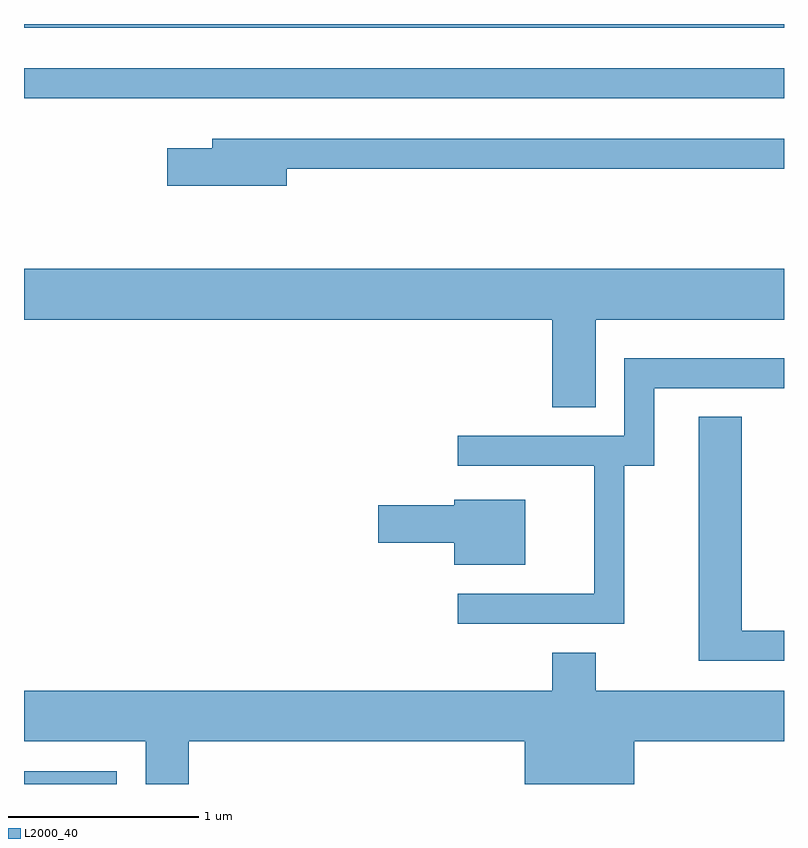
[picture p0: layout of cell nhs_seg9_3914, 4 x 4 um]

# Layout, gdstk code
import gdstk
lib = gdstk.Library(unit=1e-6, precision=1e-09)
def R(c, l, rs):  # rectangles x0, y0, x1, y1
    for r in rs: c.add(gdstk.rectangle(r[:2], r[2:], *l))
def P(c, l, *ps):  # polygons
    for p in ps: c.add(gdstk.Polygon(p, *l))
L2000_40 = (2000, 40)

nhs_seg9_3914 = lib.new_cell('nhs_seg9_3914')
R(nhs_seg9_3914, L2000_40, [(299.611,2040.432,300.099,2040.499), (299.611,2044.041,303.611,2044.199), (299.611,2044.411,303.611,2044.432)])
P(nhs_seg9_3914, L2000_40, [(300.994,2043.671),(303.611,2043.671),(303.611,2043.829),(300.601,2043.829),(300.601,2043.779),(300.366,2043.779),(300.366,2043.581),(300.994,2043.581)],
  [(302.619,2042.876),(303.611,2042.876),(303.611,2043.144),(299.611,2043.144),(299.611,2042.876),(302.391,2042.876),(302.391,2042.416),(302.619,2042.416)],
  [(302.769,2042.106),(302.929,2042.106),(302.929,2042.516),(303.611,2042.516),(303.611,2042.674),(302.771,2042.674),(302.771,2042.264),(301.893,2042.264),(301.893,2042.106),(302.611,2042.106),(302.611,2041.434),(301.893,2041.434),(301.893,2041.276),(302.769,2041.276)],
  [(303.611,2041.239),(303.389,2041.239),(303.389,2042.364),(303.161,2042.364),(303.161,2041.081),(303.611,2041.081)],
  [(302.249,2041.929),(301.876,2041.929),(301.876,2041.899),(301.476,2041.899),(301.476,2041.701),(301.876,2041.701),(301.876,2041.586),(302.249,2041.586)],
  [(300.479,2040.656),(302.246,2040.656),(302.246,2040.432),(302.824,2040.432),(302.824,2040.656),(303.611,2040.656),(303.611,2040.924),(302.619,2040.924),(302.619,2041.124),(302.391,2041.124),(302.391,2040.924),(299.611,2040.924),(299.611,2040.656),(300.251,2040.656),(300.251,2040.432),(300.479,2040.432)])

lib.write_gds('nhs_seg9_3914.gds')
